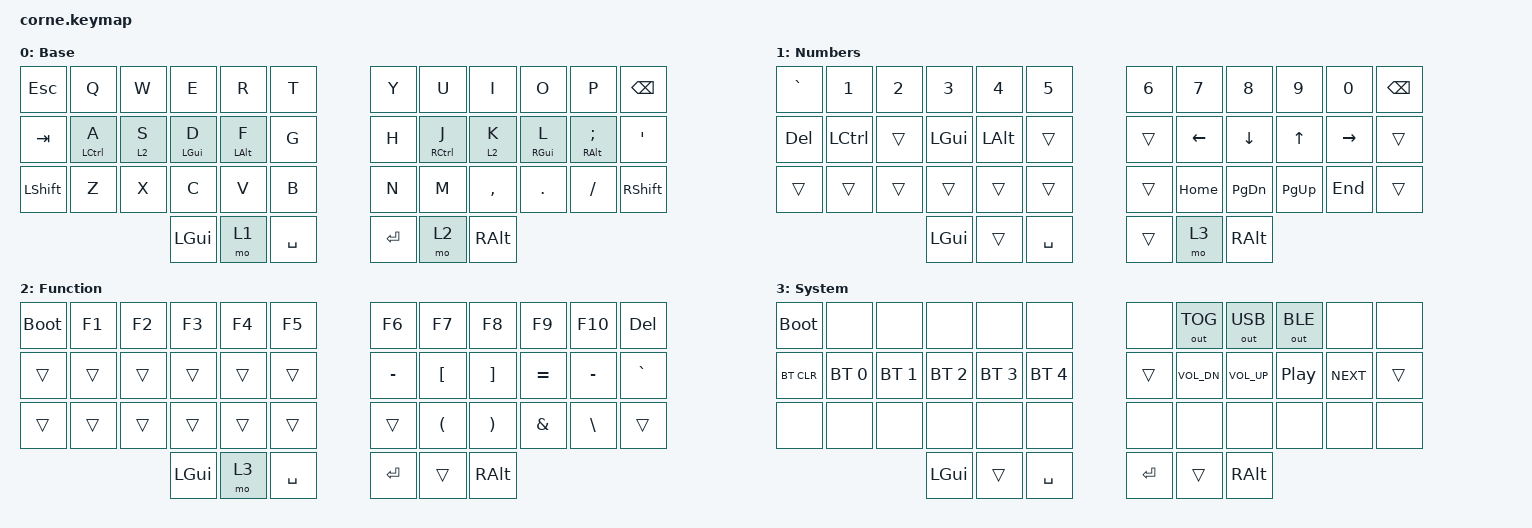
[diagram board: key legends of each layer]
/*
 * Copyright (c) 2020 The ZMK Contributors
 *
 * SPDX-License-Identifier: MIT
 *
 * Keymap Features:
 * - Bilateral home row mods (Ctrl/Fn/GUI/Alt on both hands)
 * - Layer 0: Base QWERTY with home row mods
 * - Layer 1: Numbers + arrows (J/K/L/; = Left/Down/Up/Right) + media
 * - Layer 2: Function keys + symbols
 * - Layer 3: System/Bluetooth controls
 *
 * Home row mods work with layer switching and Shift for modified arrows
 */

#include <behaviors.dtsi>
#include <dt-bindings/zmk/keys.h>
#include <dt-bindings/zmk/bt.h>
#include <dt-bindings/zmk/outputs.h>

/ {
        behaviors {
                hmr: homerow_mods_right {
                        compatible = "zmk,behavior-hold-tap";
                        #binding-cells = <2>;
                        flavor = "balanced";
                        tapping-term-ms = <250>;
                        quick-tap-ms = <100>;
                        require-prior-idle-ms = <150>;
                        bindings = <&kp>, <&kp>;
                        hold-trigger-key-positions = <0 1 2 3 4 5 12 13 14 15 16 17 24 25 26 27 28 29 36 37 38>;  // left hand + thumbs
                        hold-trigger-on-release;
                };

                // Layer-tap for S key (left hand)
                ltl: layer_tap_left {
                        compatible = "zmk,behavior-hold-tap";
                        #binding-cells = <2>;
                        flavor = "balanced";
                        tapping-term-ms = <200>;
                        quick-tap-ms = <100>;
                        require-prior-idle-ms = <50>;
                        bindings = <&mo>, <&kp>;
                        hold-trigger-key-positions = <6 7 8 9 10 11 18 19 20 21 22 23 30 31 32 33 34 35 37 39 40 41>;
                        hold-trigger-on-release;
                };

                // Layer-tap for K key (right hand)
                ltr: layer_tap_right {
                        compatible = "zmk,behavior-hold-tap";
                        #binding-cells = <2>;
                        flavor = "balanced";
                        tapping-term-ms = <200>;
                        quick-tap-ms = <100>;
                        require-prior-idle-ms = <150>;
                        bindings = <&mo>, <&kp>;
                        hold-trigger-key-positions = <0 1 2 3 4 5 12 13 14 15 16 17 24 25 26 27 28 29 30 36 37 38>;
                        hold-trigger-on-release;
                };

                // Home row mods left (GUI, Alt)
                hml: homerow_mods_left {
                        compatible = "zmk,behavior-hold-tap";
                        #binding-cells = <2>;
                        flavor = "balanced";
                        tapping-term-ms = <250>;
                        quick-tap-ms = <100>;
                        require-prior-idle-ms = <150>;
                        bindings = <&kp>, <&kp>;
                        hold-trigger-key-positions = <6 7 8 9 10 11 18 19 20 21 22 23 30 31 32 33 34 35 37 39 40 41>;  // right hand + left MO(1) thumb + right thumbs
                        hold-trigger-on-release;
                };

                // Home row mods left for Ctrl only - allows same-hand Ctrl+Z/C/V/B
                hml_ctrl: homerow_mods_left_ctrl {
                        compatible = "zmk,behavior-hold-tap";
                        #binding-cells = <2>;
                        flavor = "balanced";
                        tapping-term-ms = <250>;
                        quick-tap-ms = <100>;
                        require-prior-idle-ms = <150>;
                        bindings = <&kp>, <&kp>;
                        hold-trigger-key-positions = <6 7 8 9 10 11 18 19 20 21 22 23 25 27 28 29 30 31 32 33 34 35 37 39 40 41>;  // right hand + Z/C/V/B + left MO(1) thumb + right thumbs
                        hold-while-undecided;
                        hold-trigger-on-release;
                };
        };

        keymap {
                compatible = "zmk,keymap";

                base_layer {
                        display-name = "Base";
// -----------------------------------------------------------------------------------------
// | ESC  |  Q  |  W  |  E  |  R  |  T  |   |  Y  |  U   |  I  |  O  |  P  | BSPC |
// | TAB  | A/Ctl | S/L2 | D/GUI | F/Alt |  G  |   |  H  | J/Ctl | K/L2 | L/GUI | ;/Alt |  '   |
// | SHFT |  Z  |  X  |  C  |  V  |  B  |   |  N  |  M   |  ,  |  .  |  /  | SHFT |
//                    | GUI | L1  | SPC |   | ENT | L2   | ALT |
                        bindings = <
   &kp ESC   &kp Q       &kp W      &kp E        &kp R        &kp T          &kp Y     &kp U        &kp I        &kp O        &kp P          &kp BSPC
    &kp TAB   &hml_ctrl LCTRL A &ltl 2 S  &hml LGUI D  &hml LALT F  &kp G          &kp H     &hmr RCTRL J &ltr 2 K     &hmr RGUI L  &hmr RALT SEMI &kp SQT
   &kp LSHFT &kp Z       &kp X      &kp C        &kp V        &kp B          &kp N     &kp M        &kp COMMA    &kp DOT      &kp FSLH       &kp RSHFT
                                    &kp LGUI     &mo 1        &kp SPACE      &kp RET   &mo 2        &kp RALT
                        >;
                };

                number_layer {
                        display-name = "Numbers";
// -----------------------------------------------------------------------------------------
// | GRV  |  1  |  2  |  3  |  4  |  5  |   |  6  |  7   |  8  |  9  |  0  | BSPC |
// | DEL  | CTRL|     | GUI | ALT |     |   |     | LEFT | DOWN| UP  | RGT |      |
// |      |     |     |     |     |     |   |     | HOME | PGDN| PGUP| END |      |
//                    | GUI |     | SPC |   |     | L3   | ALT |
                        bindings = <
   &kp GRAVE &kp N1     &kp N2 &kp N3     &kp N4    &kp N5       &kp N6    &kp N7       &kp N8       &kp N9       &kp N0       &kp BSPC
   &kp DEL   &kp LCTRL  &trans &kp LGUI   &kp LALT  &trans       &trans    &kp LEFT     &kp DOWN     &kp UP       &kp RIGHT    &trans
   &trans    &trans     &trans &trans     &trans    &trans       &trans    &kp HOME     &kp PG_DN    &kp PG_UP    &kp END      &trans
                               &kp LGUI   &trans    &kp SPACE    &trans    &mo 3        &kp RALT
                        >;
                };

                function_layer {
                        display-name = "Function";
// -----------------------------------------------------------------------------------------
// |BTLDR | F1  | F2  | F3  | F4  | F5  |   | F6  | F7  | F8  | F9  | F10 | DEL  |
// |      |     |     |     |     |     |   |  -  |  [  |  ]  |  =  |  -  |  `   |
// |      |     |     |     |     |     |   |     |  (  |  )  |  &  |  \  |      |
//                    | GUI | L3  | SPC |   | ENT |     | ALT |
                        bindings = <
   &bootloader &kp F1 &kp F2 &kp F3   &kp F4 &kp F5       &kp F6    &kp F7   &kp F8   &kp F9   &kp F10  &kp DEL
   &trans      &trans &trans &trans   &trans &trans       &kp MINUS &kp LBKT &kp RBKT &kp EQUAL &kp MINUS &kp GRAVE
   &trans      &trans &trans &trans   &trans &trans       &trans    &kp LPAR &kp RPAR &kp AMPS &kp BSLH &trans
                             &kp LGUI &mo 3  &kp SPACE    &kp RET   &trans   &kp RALT
                        >;
                };

                system_layer {
                        display-name = "System";
// -----------------------------------------------------------------------------------------
// |BTLDR |     |     |     |     |     |   |     |OUT_TOG|OUT_USB|OUT_BLE|     |      |
// |BT CLR|BT 0 |BT 1 |BT 2 |BT 3 |BT 4 |   |     | VOLD  | VOLU  | PLAY  | NEXT|      |
// |      |     |     |     |     |     |   |     |       |       |       |     |      |
//                    | GUI |     | SPC |   | ENT |       | ALT   |
                        bindings = <
   &bootloader        &none           &none           &none           &none           &none             &none        &out OUT_TOG &out OUT_USB &out OUT_BLE &none      &none
   &bt BT_CLR         &bt BT_SEL 0    &bt BT_SEL 1    &bt BT_SEL 2    &bt BT_SEL 3    &bt BT_SEL 4      &trans       &kp C_VOL_DN &kp C_VOL_UP &kp C_PP     &kp C_NEXT &trans
   &none              &none           &none           &none           &none           &none             &none        &none        &none        &none        &none      &none
                                                      &kp LGUI        &trans          &kp SPACE         &kp RET &trans &kp RALT
                        >;
                };
        };
};
